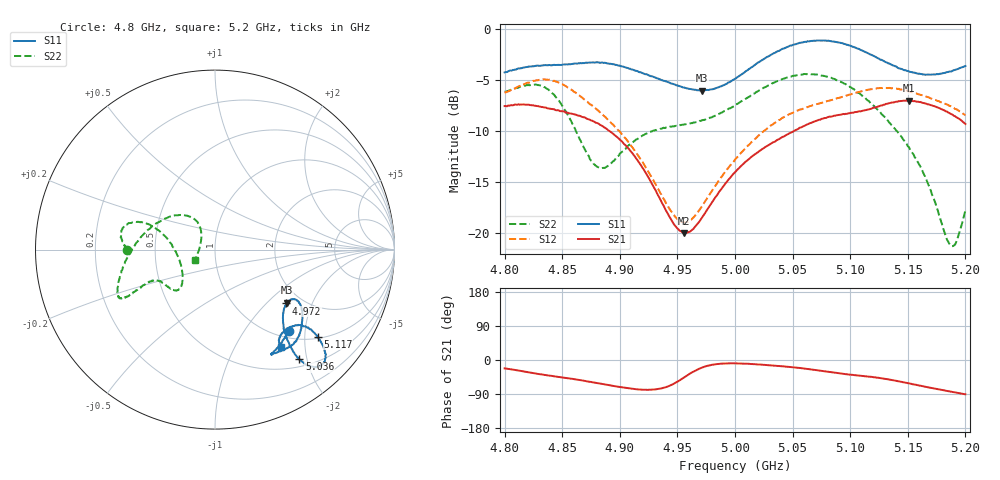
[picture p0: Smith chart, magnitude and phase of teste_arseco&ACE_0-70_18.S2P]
! Network Analyzer HP8722D
! Hewlett-Packard
! Data name: Linha & Wilkinson
! Saver's name: Rodrigo Anjos
! Comments: Teste da utilização de aquisição
! continua pelo VNA HP8722D
! Time and date: 8/5/2025 12:54
!  Frequency  S11  S21  S12  S22
# HZ  S  MA R 50
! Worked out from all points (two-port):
!   401 points, 4.8 GHz to 5.2 GHz, reference 50 ohm
!   highest |S21| = -7.05 dB at 5.151 GHz (marker M1); lowest = -20.1 dB at 4.956 GHz (marker M2)
!   |S21| within 3 dB of the highest: start of sweep to 4.891 GHz; 5.051 GHz to end of sweep
!   lowest |S11| = -6.1 dB at 4.971 GHz (marker M3), VSWR 2.98, Z = 83.9 - j66 ohm
!   |S11| at or under -10 dB: nowhere
!   |S22| runs from -21.3 to -4.4 dB; largest |S21 - S12| = 0.95
!   S11 on the Smith chart (normalised r, x): 4.8 GHz: 1.14, -1.64; 4.972 GHz: 1.66, -1.32; 5.036 GHz: 0.62, -1.87; 5.117 GHz: 1.05, -2.32; 5.2 GHz: 0.82, -1.57
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4.8e9  0.6105 -47.8  0.4174 -22.2  0.4859 -175.8  0.4918 -179.7
4.821e9  0.6524 -58.5  0.4241 -32.8  0.5431 176.8  0.529 171.4
4.837e9  0.6621 -61.6  0.4072 -40.5  0.5631 167.5  0.506 163.5
4.852e9  0.6683 -59.5  0.3923 -46.8  0.5276 158.1  0.4012 159.1
4.867e9  0.6771 -54.8  0.3697 -54.0  0.4617 150.8  0.2729 167.0
4.885e9  0.6823 -48.7  0.333 -63.2  0.3789 144.6  0.2074 -160.1
4.908e9  0.6374 -40.7  0.2566 -74.8  0.2754 138.2  0.2689 -133.6
4.934e9  0.5665 -32.9  0.1497 -76.1  0.1613 141.3  0.3212 -135.4
4.956e9  0.5145 -32.6  0.09934 -45.6  0.112 172.7  0.3395 -144.3
4.971e9  0.4972 -36.6  0.1176 -20.6  0.1339 -162.1  0.3551 -150.2
4.972e9  0.4978 -37.0  0.12 -19.2  0.1365 -160.9  0.3562 -150.6
5e9  0.5682 -47.7  0.1977 -8.9  0.2281 -146.7  0.4221 -153.7
5.036e9  0.7709 -52.5  0.2832 -15.3  0.3497 -147.3  0.5516 -151.7
5.067e9  0.8717 -48.4  0.3472 -25.3  0.4208 -154.3  0.598 -154.9
5.094e9  0.8456 -43.2  0.382 -36.5  0.4639 -161.9  0.5415 -165.5
5.117e9  0.7497 -40.2  0.4035 -44.1  0.5035 -172.4  0.436 174.3
5.134e9  0.6747 -40.2  0.4312 -51.6  0.5127 177.5  0.3459 153.4
5.151e9  0.618 -43.1  0.4441 -61.6  0.4931 167.8  0.2622 132.5
5.167e9  0.5952 -49.0  0.426 -71.7  0.4629 160.8  0.1765 122.6
5.186e9  0.6161 -54.5  0.3858 -82.4  0.4187 154.3  0.08825 154.4
5.192e9  0.6304 -55.4  0.3685 -86.0  0.4032 152.1  0.08979 -177.9
5.2e9  0.6566 -55.7  0.341 -90.5  0.3762 149.4  0.1283 -152.0
